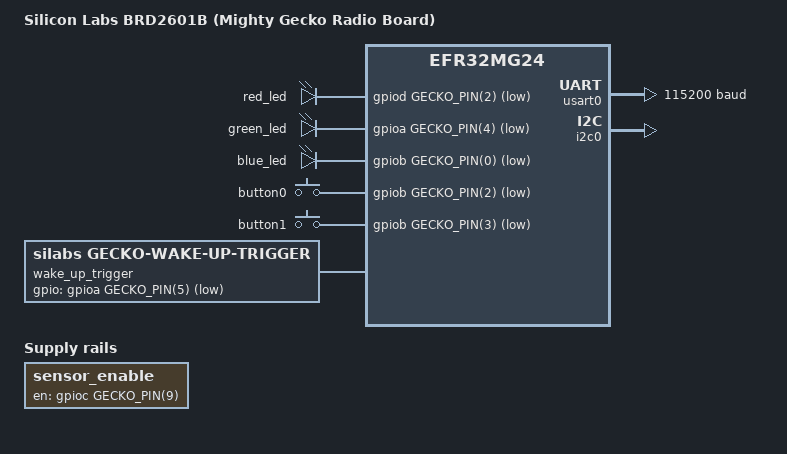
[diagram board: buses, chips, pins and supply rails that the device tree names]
/*
 * Copyright (c) 2020 TriaGnoSys GmbH
 *
 * SPDX-License-Identifier: Apache-2.0
 */

/dts-v1/;
#include <silabs/efr32mg24b310f1536im48.dtsi>
#include <silabs/efr32mg24-pinctrl.dtsi>

/ {
	model = "Silicon Labs BRD2601B (Mighty Gecko Radio Board)";
	compatible = "silabs,efr32mg24_brd2601b", "silabs,efr32mg24";

	chosen {
		zephyr,console = &usart0;
		zephyr,shell-uart = &usart0;
		zephyr,sram = &sram0;
		zephyr,flash = &flash0;
		zephyr,code-partition = &slot0_partition;
	};

	aliases {
		led0 = &red_led;
		led1 = &green_led;
		led2 = &blue_led;
		sw0 = &button0;
		sw1 = &button1;
	};

	leds {
		compatible = "gpio-leds";
		red_led: led_2 {
			gpios = <&gpiod GECKO_PIN(2) GPIO_ACTIVE_LOW>;
		};
		green_led: led_0 {
			gpios = <&gpioa GECKO_PIN(4) GPIO_ACTIVE_LOW>;
		};
		blue_led: led_1 {
			gpios = <&gpiob GECKO_PIN(0) GPIO_ACTIVE_LOW>;
		};
	};

	buttons {
		compatible = "gpio-keys";
		button0: button_0 {
			gpios = <&gpiob GECKO_PIN(2) GPIO_ACTIVE_LOW>;
		};
		button1: button_1 {
			gpios = <&gpiob GECKO_PIN(3) GPIO_ACTIVE_LOW>;
		};
	};

	wake_up_trigger: gpio-wake-up  {
		compatible = "silabs,gecko-wake-up-trigger";
		gpios = <&gpioa GECKO_PIN(5) GPIO_ACTIVE_LOW>;
	};

	sensor_enable: gpio_switch_0 {
		compatible = "regulator-fixed";
		regulator-name = "sensor_enable";
		enable-gpios = <&gpioc GECKO_PIN(9) GPIO_ACTIVE_HIGH>;
		regulator-boot-on;
	};
};

&cpu0 {
	clock-frequency = <78000000>;
};

&usart0 {
	current-speed = <115200>;
	pinctrl-0 = <&usart0_default>;
	pinctrl-names = "default";
	status = "okay";
};

&i2c0 {
	location-sda = <GECKO_LOCATION(5) GECKO_PORT_C GECKO_PIN(5)>;
	location-scl = <GECKO_LOCATION(5) GECKO_PORT_C GECKO_PIN(4)>;
	status = "okay";
};

&gpio {
	status = "okay";
};

&gpioa {
	status = "okay";
};

&gpiob {
	status = "okay";
};

&gpioc {
	status = "okay";
};

&gpiod {
	status = "okay";
};

&flash0 {
	partitions {
		compatible = "fixed-partitions";
		#address-cells = <1>;
		#size-cells = <1>;

		/* Reserve 48 kB for the bootloader */
		boot_partition: partition@0 {
			label = "mcuboot";
			reg = <0x0 0x0000c000>;
			read-only;
		};

		/* Reserve 464 kB for the application in slot 0 */
		slot0_partition: partition@c000 {
			label = "storage";
			reg = <0x0000c000 0x00074000>;
		};

		/* Reserve 464 kB for the application in slot 1 */
		slot1_partition: partition@80000 {
			label = "image-0";
			reg = <0x00080000 0x00074000>;
		};

		/* Reserve 32 kB for the scratch partition */
		scratch_partition: partition@f4000 {
			label = "image-1";
			reg = <0x000f4000 0x00008000>;
		};

		/* Set 528Kb of storage at the end of the 1024Kb of flash */
		storage_partition: partition@fc000 {
			label = "image-scratch";
			reg = <0x000fc000 0x00084000>;
		};
	};
};
